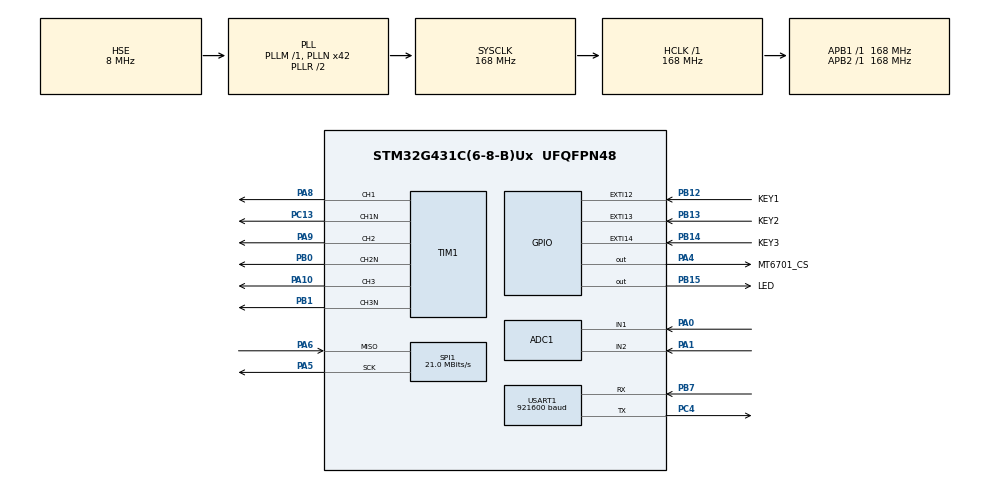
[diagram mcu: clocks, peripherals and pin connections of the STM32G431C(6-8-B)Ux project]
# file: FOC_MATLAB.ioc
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ADC1.Channel-0\#ChannelRegularConversion=ADC_CHANNEL_1
ADC1.ClockPrescaler=ADC_CLOCK_SYNC_PCLK_DIV4
ADC1.EnableInjectedConversion=ENABLE
ADC1.ExternalTrigInjecConv=ADC_EXTERNALTRIGINJEC_T1_CC4
ADC1.InjNumberOfConversion=2
ADC1.InjectedChannel-1\#ChannelInjectedConversion=ADC_CHANNEL_1
ADC1.InjectedChannel-2\#ChannelInjectedConversion=ADC_CHANNEL_2
ADC1.InjectedOffsetNumber-1\#ChannelInjectedConversion=ADC_OFFSET_NONE
ADC1.InjectedOffsetNumber-2\#ChannelInjectedConversion=ADC_OFFSET_NONE
ADC1.InjectedRank-1\#ChannelInjectedConversion=1
ADC1.InjectedRank-2\#ChannelInjectedConversion=2
ADC1.InjectedSamplingTime-1\#ChannelInjectedConversion=ADC_SAMPLETIME_6CYCLES_5
ADC1.InjectedSamplingTime-2\#ChannelInjectedConversion=ADC_SAMPLETIME_6CYCLES_5
ADC1.NbrOfConversionFlag=1
ADC1.OffsetNumber-0\#ChannelRegularConversion=ADC_OFFSET_NONE
ADC1.Rank-0\#ChannelRegularConversion=1
ADC1.Rank1_Channel=ADC_CHANNEL_1
ADC1.Rank2_Channel=ADC_CHANNEL_2
ADC1.SamplingTime-0\#ChannelRegularConversion=ADC_SAMPLETIME_2CYCLES_5
ADC1.master=1
Dma.Request0=USART1_RX
Dma.Request1=USART1_TX
Dma.USART1_RX.0.Direction=DMA_PERIPH_TO_MEMORY
Dma.USART1_RX.0.EventEnable=DISABLE
Dma.USART1_RX.0.Instance=DMA1_Channel1
Dma.USART1_RX.0.MemDataAlignment=DMA_MDATAALIGN_BYTE
Dma.USART1_RX.0.MemInc=DMA_MINC_ENABLE
Dma.USART1_RX.0.Mode=DMA_NORMAL
Dma.USART1_RX.0.PeriphDataAlignment=DMA_PDATAALIGN_BYTE
Dma.USART1_RX.0.PeriphInc=DMA_PINC_DISABLE
Dma.USART1_RX.0.Polarity=HAL_DMAMUX_REQ_GEN_RISING
Dma.USART1_RX.0.Priority=DMA_PRIORITY_LOW
Dma.USART1_RX.0.RequestNumber=1
Dma.USART1_RX.0.SignalID=NONE
Dma.USART1_RX.0.SyncEnable=DISABLE
Dma.USART1_RX.0.SyncPolarity=HAL_DMAMUX_SYNC_NO_EVENT
Dma.USART1_RX.0.SyncRequestNumber=1
Dma.USART1_RX.0.SyncSignalID=NONE
Dma.USART1_TX.1.Direction=DMA_MEMORY_TO_PERIPH
Dma.USART1_TX.1.EventEnable=DISABLE
Dma.USART1_TX.1.Instance=DMA1_Channel2
Dma.USART1_TX.1.MemDataAlignment=DMA_MDATAALIGN_BYTE
Dma.USART1_TX.1.MemInc=DMA_MINC_ENABLE
Dma.USART1_TX.1.Mode=DMA_NORMAL
Dma.USART1_TX.1.PeriphDataAlignment=DMA_PDATAALIGN_BYTE
Dma.USART1_TX.1.PeriphInc=DMA_PINC_DISABLE
Dma.USART1_TX.1.Polarity=HAL_DMAMUX_REQ_GEN_RISING
Dma.USART1_TX.1.Priority=DMA_PRIORITY_LOW
Dma.USART1_TX.1.RequestNumber=1
Dma.USART1_TX.1.SignalID=NONE
Dma.USART1_TX.1.SyncEnable=DISABLE
Dma.USART1_TX.1.SyncPolarity=HAL_DMAMUX_SYNC_NO_EVENT
Dma.USART1_TX.1.SyncRequestNumber=1
Dma.USART1_TX.1.SyncSignalID=NONE
Mcu.Family=STM32G4
Mcu.Name=STM32G431C(6-8-B)Ux
Mcu.Package=UFQFPN48
Mcu.UserConstants=PWM_FREQUNCY,20000;PWM_PER,168000000/PWM_FREQUNCY/2
NVIC.ADC1_2_IRQn=true\:1\:0\:true\:false\:true\:true\:true\:true
NVIC.DMA1_Channel1_IRQn=true\:0\:0\:false\:false\:true\:false\:true\:true
NVIC.DMA1_Channel2_IRQn=true\:0\:0\:false\:false\:true\:false\:true\:true
NVIC.EXTI15_10_IRQn=true\:1\:0\:true\:false\:true\:true\:true\:true
NVIC.PriorityGroup=NVIC_PRIORITYGROUP_2
NVIC.TIM1_BRK_TIM15_IRQn=true\:0\:0\:false\:false\:true\:true\:true\:true
NVIC.TIM6_DAC_IRQn=true\:2\:0\:true\:false\:true\:true\:true\:true
NVIC.USART1_IRQn=true\:3\:0\:true\:false\:true\:true\:true\:true
PA0.Mode=IN1-Single-Ended
PA0.Signal=ADC1_IN1
PA1.Mode=IN2-Single-Ended
PA1.Signal=ADC1_IN2
PA10.Signal=S_TIM1_CH3
PA13.Mode=Serial_Wire
PA13.Signal=SYS_JTMS-SWDIO
PA14.Mode=Serial_Wire
PA14.Signal=SYS_JTCK-SWCLK
PA4.GPIO_Label=MT6701_CS
PA4.GPIO_ModeDefaultOutputPP=GPIO_MODE_OUTPUT_PP
PA4.GPIO_PuPd=GPIO_PULLUP
PA4.GPIO_Speed=GPIO_SPEED_FREQ_HIGH
PA4.PinState=GPIO_PIN_SET
PA4.Signal=GPIO_Output
PA5.Mode=RX_Only_Simplex_Unidirect_Master
PA5.Signal=SPI1_SCK
PA6.Mode=RX_Only_Simplex_Unidirect_Master
PA6.Signal=SPI1_MISO
PA8.Signal=S_TIM1_CH1
PA9.Signal=S_TIM1_CH2
PB0.Mode=PWM Generation2 CH2 CH2N
PB0.Signal=TIM1_CH2N
PB1.Mode=PWM Generation3 CH3 CH3N
PB1.Signal=TIM1_CH3N
PB12.GPIO_Label=KEY1
PB12.GPIO_ModeDefaultEXTI=GPIO_MODE_IT_FALLING
PB12.Signal=GPXTI12
PB13.GPIO_Label=KEY2
PB13.GPIO_ModeDefaultEXTI=GPIO_MODE_IT_FALLING
PB13.Signal=GPXTI13
PB14.GPIO_Label=KEY3
PB14.GPIO_ModeDefaultEXTI=GPIO_MODE_IT_FALLING
PB14.Signal=GPXTI14
PB15.GPIO_Label=LED
PB15.PinState=GPIO_PIN_SET
PB15.Signal=GPIO_Output
PB7.Mode=Asynchronous
PB7.Signal=USART1_RX
PC13.Mode=PWM Generation1 CH1 CH1N
PC13.Signal=TIM1_CH1N
PC4.Mode=Asynchronous
PC4.Signal=USART1_TX
PF0-OSC_IN.Mode=HSE-External-Oscillator
PF0-OSC_IN.Signal=RCC_OSC_IN
PF1-OSC_OUT.Mode=HSE-External-Oscillator
PF1-OSC_OUT.Signal=RCC_OSC_OUT
ProjectManager.HeapSize=0x200
ProjectManager.StackSize=0x400
ProjectManager.TargetToolchain=MDK-ARM V5.27
RCC.ADC12Freq_Value=168000000
RCC.AHBFreq_Value=168000000
RCC.APB1Freq_Value=168000000
RCC.APB1TimFreq_Value=168000000
RCC.APB2Freq_Value=168000000
RCC.APB2TimFreq_Value=168000000
RCC.CortexFreq_Value=168000000
RCC.EXTERNAL_CLOCK_VALUE=12288000
RCC.HCLKFreq_Value=168000000
RCC.HSE_VALUE=8000000
RCC.HSI48_VALUE=48000000
RCC.HSI_VALUE=16000000
RCC.LSE_VALUE=32768
RCC.PLLN=42
RCC.PLLSourceVirtual=RCC_PLLSOURCE_HSE
RCC.SYSCLKFreq_VALUE=168000000
RCC.SYSCLKSource=RCC_SYSCLKSOURCE_PLLCLK
RCC.USBFreq_Value=168000000
RCC.VCOOutputFreq_Value=336000000
SH.S_TIM1_CH1.0=TIM1_CH1,PWM Generation1 CH1 CH1N
SH.S_TIM1_CH2.0=TIM1_CH2,PWM Generation2 CH2 CH2N
SH.S_TIM1_CH3.0=TIM1_CH3,PWM Generation3 CH3 CH3N
SPI1.BaudRatePrescaler=SPI_BAUDRATEPRESCALER_8
SPI1.CLKPhase=SPI_PHASE_2EDGE
SPI1.CalculateBaudRate=21.0 MBits/s
SPI1.Direction=SPI_DIRECTION_2LINES_RXONLY
SPI1.Mode=SPI_MODE_MASTER
SPI1.VirtualType=VM_MASTER
STMicroelectronics.X-CUBE-ALGOBUILD.1.3.0.LibraryCcDSPOoLibraryJjDSPOoLibrary=true
TIM1.AutoReloadPreload=TIM_AUTORELOAD_PRELOAD_ENABLE
TIM1.Channel-PWM\ Generation1\ CH1\ CH1N=TIM_CHANNEL_1
TIM1.Channel-PWM\ Generation2\ CH2\ CH2N=TIM_CHANNEL_2
TIM1.Channel-PWM\ Generation3\ CH3\ CH3N=TIM_CHANNEL_3
TIM1.Channel-PWM\ Generation4\ No\ Output=TIM_CHANNEL_4
TIM1.CounterMode=TIM_COUNTERMODE_CENTERALIGNED1
TIM1.DeadTime=23
TIM1.DeadTimePreload=ENABLE
TIM1.OCFastMode_PWM-PWM\ Generation1\ CH1\ CH1N=TIM_OCFAST_ENABLE
TIM1.OCFastMode_PWM-PWM\ Generation2\ CH2\ CH2N=TIM_OCFAST_ENABLE
TIM1.OCFastMode_PWM-PWM\ Generation3\ CH3\ CH3N=TIM_OCFAST_ENABLE
TIM1.OCFastMode_PWM-PWM\ Generation4\ No\ Output=TIM_OCFAST_ENABLE
TIM1.OCNPolarity_1=TIM_OCNPOLARITY_LOW
TIM1.OCNPolarity_2=TIM_OCNPOLARITY_LOW
TIM1.OCNPolarity_3=TIM_OCNPOLARITY_LOW
TIM1.PeriodNoDither=168000000/PWM_FREQUNCY/2
TIM15.AutoReloadPreload=TIM_AUTORELOAD_PRELOAD_ENABLE
TIM15.PeriodNoDither=999
TIM15.Prescaler=167
TIM6.PeriodNoDither=1679
TIM6.Prescaler=0
TIM6.TIM_MasterOutputTrigger=TIM_TRGO_RESET
USART1.BaudRate=921600
USART1.VirtualMode-Asynchronous=VM_ASYNC
VP_STMicroelectronics.X-CUBE-ALGOBUILD_VS_DSPOoLibraryJjLibrary_1.3.0_1.3.0.Mode=DSPOoLibraryJjLibrary
VP_SYS_VS_DBSignals.Mode=DisableDeadBatterySignals
VP_TIM15_VS_ClockSourceINT.Mode=Internal
VP_TIM1_VS_ClockSourceINT.Mode=Internal
VP_TIM1_VS_no_output4.Mode=PWM Generation4 No Output
VP_TIM6_VS_ClockSourceINT.Mode=Enable_Timer
board=custom

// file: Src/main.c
/* USER CODE BEGIN Header */
/**
  ******************************************************************************
  * @file           : main.c
  * @brief          : Main program body
  ******************************************************************************
  * @attention
  *
  * <h2><center>&copy; Copyright (c) 2023 STMicroelectronics.
  * All rights reserved.</center></h2>
  *
  * This software component is licensed by ST under Ultimate Liberty license
  * SLA0044, the "License"; You may not use this file except in compliance with
  * the License. You may obtain a copy of the License at:
  *                             www.st.com/SLA0044
  *
  ******************************************************************************
  */
/* USER CODE END Header */
#include "main.h"
#include "adc.h"
#include "dma.h"
#include "spi.h"
#include "tim.h"
#include "usart.h"
#include "gpio.h"

/* USER CODE BEGIN Includes */
#include "FOC.h"
#include "User_Config.h"
#include "vofa.h"
/* USER CODE END Includes */

void SystemClock_Config(void);

int main(void)
{

  /* MCU Configuration--------------------------------------------------------*/

  /* Reset of all peripherals, Initializes the Flash interface and the Systick. */
  HAL_Init();

  /* Configure the system clock */
  SystemClock_Config();

  /* Initialize all configured peripherals */
  MX_GPIO_Init();
  MX_DMA_Init();
  MX_ADC1_Init();
  MX_TIM1_Init();
  MX_USART1_UART_Init();
  MX_TIM6_Init();
  MX_TIM15_Init();
  MX_SPI1_Init();
  /* USER CODE BEGIN 2 */
  /*******************************配置参数*********************************/
	FOC1_Handler.TIM = TIM1;
	FOC1_Handler.htim = &htim1;
	FOC1_Handler.hadc = &hadc1;

  UserConfig.Pole_pairs = 7;
  UserConfig.Ele_offset = 544;
  UserConfig.Current_bandwidth = 1000;
  UserConfig.Phase_resistance = 0.165f;
  UserConfig.Phase_inductance = 0.00002567f;
  UserConfig.Current_p = UserConfig.Phase_inductance*UserConfig.Current_bandwidth;
	UserConfig.Current_i = UserConfig.Phase_resistance*UserConfig.Current_bandwidth;
  /**********************************************************************/
	MT6701_Init(&MT6701);
  FOC1_Handler.Encoder_measure = &MT6701;
	FOC1_Handler.usrConfig = &UserConfig;

  FOC_Init(&FOC1_Handler);
	HAL_TIM_Base_Start_IT(&htim15);
  __HAL_UART_ENABLE_IT(&huart1, UART_IT_IDLE);
  HAL_UART_Receive_DMA(&huart1, rx_buffer, 50);

  FOC1_Handler.qd.U_q = 0.02f;
  /* USER CODE END 2 */

  /* Infinite loop */
  /* USER CODE BEGIN WHILE */
  while (1)
  {
//    tempFloat[0] = MT6701.ecd;
    tempFloat[1] = FOC1_Handler.target;
    tempFloat[2] = MT6701.total_ecd;
    tempFloat[3] = MT6701.speed_rmp;
		tempFloat[4] = FOC1_Handler.target;
		tempFloat[5] = FOC1_Handler.UVW.I_W;
		tempFloat[6] = FOC1_Handler.UVW.I_V;
		tempFloat[7] = FOC1_Handler.qd.I_d_filt;
		tempFloat[8] = FOC1_Handler.qd.I_q_filt;
//		tempFloat[9] = FOC1_Handler.UVW.I_V;
//    FOC1_Handler.Theta += 0.1f;
		Vofa_Transmit(&huart1, 9);
    /* USER CODE END WHILE */

    /* USER CODE BEGIN 3 */
		HAL_GPIO_TogglePin(LED_GPIO_Port, LED_Pin);
  }
  /* USER CODE END 3 */
}

void SystemClock_Config(void)
{
  RCC_OscInitTypeDef RCC_OscInitStruct = {0};
  RCC_ClkInitTypeDef RCC_ClkInitStruct = {0};

  /** Configure the main internal regulator output voltage
  */
  HAL_PWREx_ControlVoltageScaling(PWR_REGULATOR_VOLTAGE_SCALE1_BOOST);

  /** Initializes the RCC Oscillators according to the specified parameters
  * in the RCC_OscInitTypeDef structure.
  */
  RCC_OscInitStruct.OscillatorType = RCC_OSCILLATORTYPE_HSE;
  RCC_OscInitStruct.HSEState = RCC_HSE_ON;
  RCC_OscInitStruct.PLL.PLLState = RCC_PLL_ON;
  RCC_OscInitStruct.PLL.PLLSource = RCC_PLLSOURCE_HSE;
  RCC_OscInitStruct.PLL.PLLM = RCC_PLLM_DIV1;
  RCC_OscInitStruct.PLL.PLLN = 42;
  RCC_OscInitStruct.PLL.PLLP = RCC_PLLP_DIV2;
  RCC_OscInitStruct.PLL.PLLQ = RCC_PLLQ_DIV2;
  RCC_OscInitStruct.PLL.PLLR = RCC_PLLR_DIV2;
  if (HAL_RCC_OscConfig(&RCC_OscInitStruct) != HAL_OK)
  {
    Error_Handler();
  }

  /** Initializes the CPU, AHB and APB buses clocks
  */
  RCC_ClkInitStruct.ClockType = RCC_CLOCKTYPE_HCLK|RCC_CLOCKTYPE_SYSCLK
                              |RCC_CLOCKTYPE_PCLK1|RCC_CLOCKTYPE_PCLK2;
  RCC_ClkInitStruct.SYSCLKSource = RCC_SYSCLKSOURCE_PLLCLK;
  RCC_ClkInitStruct.AHBCLKDivider = RCC_SYSCLK_DIV1;
  RCC_ClkInitStruct.APB1CLKDivider = RCC_HCLK_DIV1;
  RCC_ClkInitStruct.APB2CLKDivider = RCC_HCLK_DIV1;

  if (HAL_RCC_ClockConfig(&RCC_ClkInitStruct, FLASH_LATENCY_4) != HAL_OK)
  {
    Error_Handler();
  }
}

void Error_Handler(void)
{
}
